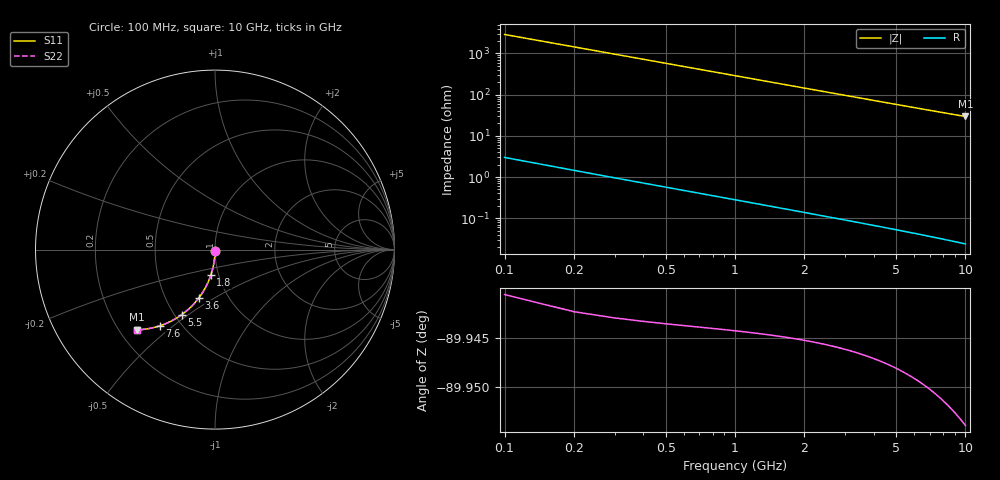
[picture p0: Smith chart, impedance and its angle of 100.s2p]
# Hz S RI R 50.00
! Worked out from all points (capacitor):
!   100 points, 100 MHz to 10 GHz, reference 50 ohm
!   read as one part in shunt: C = 551 fF near 100 MHz
!   lowest |Z| = 29.5 ohm at 10 GHz (marker M1)
!   S11 on the Smith chart (normalised r, x): 100 MHz: 1.00, -0.02; 1.8 GHz: 0.92, -0.27; 3.6 GHz: 0.73, -0.43; 5.5 GHz: 0.54, -0.47; 7.6 GHz: 0.39, -0.45; 10 GHz: 0.27, -0.40
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1e8  0.000128 -0.00818  0.9997 -0.00913  0.9997 -0.00913  0.000128 -0.00818
2e8  -0.000103 -0.0163  0.9995 -0.0183  0.9995 -0.0183  -0.000103 -0.0163
3e8  -0.000483 -0.0245  0.9991 -0.0274  0.9991 -0.0274  -0.000483 -0.0245
4e8  -0.00101 -0.0327  0.9985 -0.0365  0.9985 -0.0365  -0.00101 -0.0327
5e8  -0.00169 -0.0408  0.9979 -0.0456  0.9979 -0.0456  -0.00169 -0.0408
6e8  -0.00252 -0.0489  0.997 -0.0547  0.997 -0.0547  -0.00252 -0.0489
8e8  -0.00461 -0.0651  0.9949 -0.0728  0.9949 -0.0728  -0.00461 -0.0651
1.1e9  -0.00884 -0.0891  0.9907 -0.0996  0.9907 -0.0996  -0.00884 -0.0891
1.4e9  -0.0143 -0.1128  0.9851 -0.1262  0.9851 -0.1262  -0.0143 -0.1128
1.8e9  -0.0236 -0.1436  0.9758 -0.1608  0.9758 -0.1608  -0.0236 -0.1436
2.1e9  -0.0319 -0.1661  0.9674 -0.1862  0.9674 -0.1862  -0.0319 -0.1661
2.5e9  -0.0447 -0.195  0.9545 -0.219  0.9545 -0.219  -0.0447 -0.195
2.9e9  -0.0593 -0.2226  0.9398 -0.2504  0.9398 -0.2504  -0.0593 -0.2226
3.4e9  -0.0799 -0.2551  0.9191 -0.2877  0.9191 -0.2877  -0.0799 -0.2551
3.6e9  -0.0888 -0.2674  0.9102 -0.302  0.9102 -0.302  -0.0888 -0.2674
4.3e9  -0.1223 -0.3072  0.8764 -0.3485  0.8764 -0.3485  -0.1223 -0.3072
5.1e9  -0.1643 -0.3462  0.834 -0.3953  0.834 -0.3953  -0.1643 -0.3462
5.5e9  -0.1863 -0.3631  0.8118 -0.4161  0.8118 -0.4161  -0.1863 -0.3631
6.7e9  -0.2545 -0.4034  0.7429 -0.4682  0.7429 -0.4682  -0.2545 -0.4034
7.6e9  -0.3061 -0.4242  0.6907 -0.4978  0.6907 -0.4978  -0.3061 -0.4242
8.4e9  -0.351 -0.4366  0.6451 -0.5182  0.6451 -0.5182  -0.351 -0.4366
1e10  -0.436 -0.4468  0.5587 -0.5445  0.5587 -0.5445  -0.436 -0.4468
